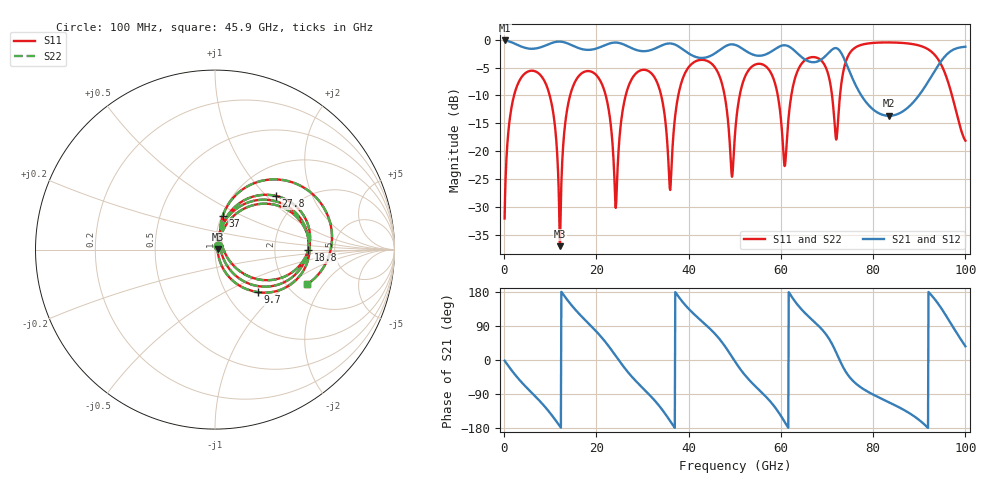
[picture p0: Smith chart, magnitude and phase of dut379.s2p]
! Touchstone file exported from HFSS 2026.1.0
!  File:  C:/ffzhzh/LocalFiles/Ansys_Project_Files/temp_train_TSV_RDL_379_1783715236_45496.aedt
!  Generated:  04:52:05 AM Jul 11, 2026
!  Design:  TSV_RDL
!  Project:  temp_train_TSV_RDL_379_1783715236_45496
! Variables:
!  h_bsmrdl = 4.03um
!  h_ox = 20um
!  h_rdl = 5um
!  h_sub = 75.57um
!  h_tmrdl = 3.26um
!  h_tsv = 75.57um
!  h_via = 3um
!  l_bsmrdl = 651.56um
!  l_sub = 4907.1um
!  l_tmrdl = 598.73um
!  m_sub = 200um
!  pitch = 59.35um
!  r_tsv = 13.84um
!  s_tmrdl = 10um
!  w_bsmrdl = 27.55um
!  w_sub = 500um
!  w_tmrdl = 24.95um
!  x_tsv_center1 = 611.205um
!  x_tsv_center2 = 1290.315um
!  x_tsv_center3 = 1913.995um
!  x_tsv_center4 = 2593.105um
!  x_tsv_center5 = 3216.785um
!  x_tsv_center6 = 3895.895um
# GHz S MA R 50.000000
! Terminal data exported
! Port[1] = TM_RDL1_1_T1
! Port[2] = TM_RDL5_1_T1
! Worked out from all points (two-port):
!   1000 points, 100 MHz to 100 GHz, reference 50 ohm
!   highest |S21| = -0.16 dB at 100 MHz (marker M1); lowest = -13.6 dB at 83.4 GHz (marker M2)
!   |S21| within 3 dB of the highest: start of sweep to 41.75 GHz; 43.96 GHz to 64.54 GHz (20.58 GHz wide, 37.9 % of centre) (the widest 2 of 4)
!   lowest |S11| = -36.9 dB at 12.1 GHz (marker M3), VSWR 1.03, Z = 51.4 + j0.246 ohm
!   |S11| at or under -10 dB: 9.878 GHz to 14.3 GHz (4.417 GHz wide, 36.5 % of centre); 22.03 GHz to 26.35 GHz (4.321 GHz wide, 17.9 % of centre); 34.05 GHz to 37.75 GHz (3.691 GHz wide, 10.3 % of centre) (the widest 3 of 8)
!   |S22| runs from -36.9 to -0.5 dB; largest |S21 - S12| = 4e-14
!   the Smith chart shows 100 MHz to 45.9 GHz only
!   S11 on the Smith chart (normalised r, x): 100 MHz: 1.04, +0.04; 9.7 GHz: 1.39, -0.75; 18.8 GHz: 3.15, -0.03; 27.8 GHz: 1.51, +1.14; 37 GHz: 1.01, +0.40; 45.9 GHz: 2.55, -1.41
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0.1  0.02513 43.7  0.9822 -1.8  0.9822 -1.8  0.02513 43.7
! Gamma 0 0 0 0
! Port Impedance 50 0 50 0
3  0.4035 38.8  0.8924 -48.1  0.8924 -48.1  0.4035 38.8
9.7  0.3363 -44.8  0.9118 -135.9  0.9118 -135.9  0.3363 -44.8
12.1  0.01421 9.7  0.9593 -175.0  0.9593 -175.0  0.01423 9.7
13.8  0.256 62.5  0.9228 156.9  0.9228 156.9  0.256 62.5
16.8  0.4991 23.0  0.8233 114.9  0.8233 114.9  0.4991 23.0
18.8  0.5184 -0.3  0.8115 90.2  0.8115 90.2  0.5184 -0.4
24.2  0.03127 9.2  0.9409 10.7  0.9409 10.7  0.03149 9.1
27.8  0.4531 41.3  0.8329 -45.6  0.8329 -45.6  0.4531 41.2
33.4  0.3911 -24.3  0.857 -117.8  0.857 -117.8  0.391 -24.5
35.9  0.04709 1.9  0.9237 -159.4  0.9237 -159.4  0.04625 1.6
37  0.1941 76.8  0.9035 -179.1  0.9035 -179.1  0.1939 77.0
45.9  0.5483 -20.7  0.7623 66.5  0.7623 66.5  0.5483 -20.7
50.1  0.1517 62.3  0.8966 -4.9  0.8966 -4.9  0.1519 62.2
55.9  0.6021 4.1  0.7207 -86.3  0.7207 -86.3  0.6021 4.0
61  0.08275 39.1  0.8885 -167.0  0.8885 -167.0  0.08167 39.4
66.7  0.6967 16.1  0.6284 106.9  0.6284 106.9  0.6966 16.1
72.4  0.1927 54.8  0.8234 8.8  0.8234 8.8  0.1921 55.0
75  0.7645 35.5  0.5036 -46.7  0.5036 -46.7  0.7645 35.5
83.4  0.9429 -21.6  0.2081 -111.4  0.2081 -111.4  0.943 -21.6
94.4  0.6351 -119.5  0.6122 143.2  0.6122 143.2  0.6357 -119.3
100  0.1248 129.8  0.8625 36.1  0.8625 36.1  0.1251 130.9
